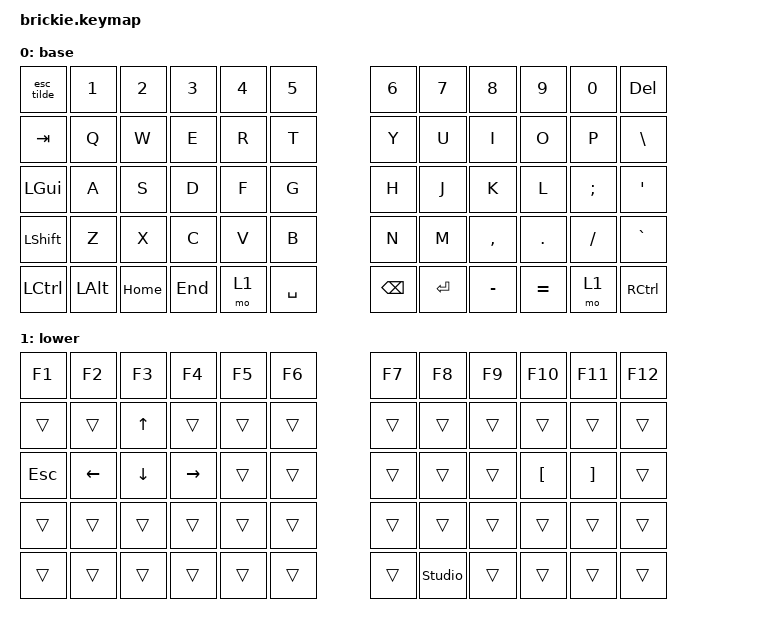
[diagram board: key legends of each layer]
#include <behaviors.dtsi>
#include <dt-bindings/zmk/keys.h>

/ {

    behaviors {
      esc_tilde: esc_tilde {
          compatible = "zmk,behavior-mod-morph";
          #binding-cells = <0>;
          bindings = <&kp ESC>, <&kp TILDE>;
          mods = <(MOD_LSFT | MOD_RSFT)>;
      };
    };

    keymap {
        compatible = "zmk,keymap";

        default_layer: base {
            display-name = "base";

            bindings = <
                &esc_tilde     &kp N1     &kp N2     &kp N3     &kp N4     &kp N5        &kp N6     &kp N7     &kp N8     &kp N9     &kp N0     &kp DEL
                &kp TAB    &kp Q      &kp W      &kp E      &kp R      &kp T         &kp Y      &kp U      &kp I      &kp O      &kp P      &kp BSLH
                &kp LGUI   &kp A      &kp S      &kp D      &kp F      &kp G         &kp H      &kp J      &kp K      &kp L      &kp SEMI   &kp SQT
                &kp LSHFT  &kp Z      &kp X      &kp C      &kp V      &kp B         &kp N      &kp M      &kp COMMA  &kp DOT    &kp FSLH   &kp GRAVE
                &kp LCTRL  &kp LALT   &kp HOME   &kp END    &mo 1      &kp SPACE     &kp BSPC   &kp RET    &kp MINUS  &kp EQUAL  &mo 1      &kp RCTRL
            >;
        };

        lower {
            display-name = "lower";

            bindings = <
                &kp F1     &kp F2     &kp F3     &kp F4     &kp F5     &kp F6        &kp F7     &kp F8          &kp F9     &kp F10    &kp F11    &kp F12
                &trans     &trans     &kp UP     &trans     &trans     &trans        &trans     &trans          &trans     &trans     &trans     &trans
                &kp ESC    &kp LEFT   &kp DOWN   &kp RIGHT  &trans     &trans        &trans     &trans          &trans     &kp LBKT   &kp RBKT   &trans
                &trans     &trans     &trans     &trans     &trans     &trans        &trans     &trans          &trans     &trans     &trans     &trans
                &trans     &trans     &trans     &trans     &trans     &trans        &trans     &studio_unlock  &trans     &trans     &trans     &trans
            >;
        };
    };
};

